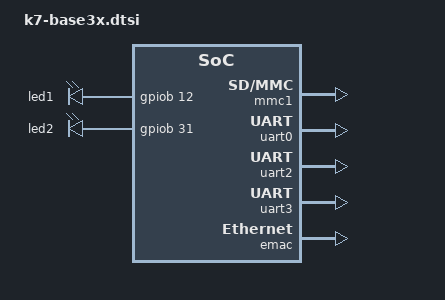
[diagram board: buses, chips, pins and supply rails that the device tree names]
// SPDX-License-Identifier: (GPL-2.0+ OR MIT)
#include "k7-soc.dtsi"

&soc {
	leds {
		compatible = "gpio-leds";
		
		led@1 {
			label = "led1";
			gpios = <&gpiob 12 GPIO_ACTIVE_HIGH>;
			linux,default-trigger = "default-on";
			default-state = "ON";
		};
		
		led@2 {
			label = "led2";
			gpios = <&gpiob 31 GPIO_ACTIVE_HIGH>;
			linux,default-trigger = "heartbeat";
			default-state = "ON";
		};
	};
};

&mmc1 {
	status = "okay";
};

&uart0 {
	status = "okay";
};

&uart2 {
	status = "okay";
};

&uart3 {
	status = "okay";
};

&emac {
	status = "okay";
};
